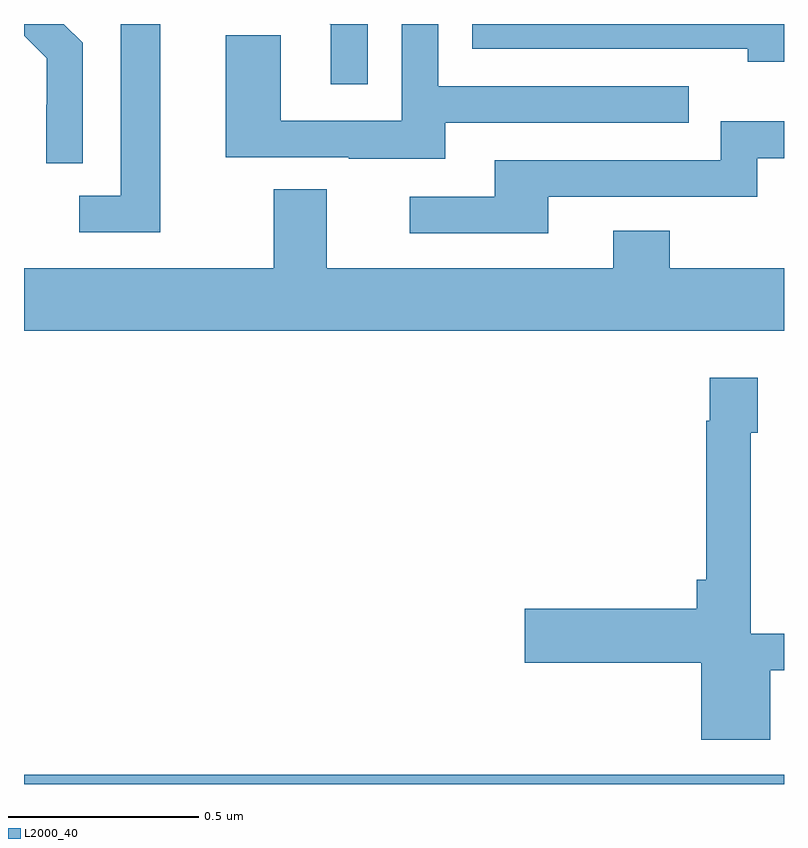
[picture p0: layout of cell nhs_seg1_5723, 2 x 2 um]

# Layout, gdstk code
import gdstk
lib = gdstk.Library(unit=1e-6, precision=1e-09)
def R(c, l, rs):  # rectangles x0, y0, x1, y1
    for r in rs: c.add(gdstk.rectangle(r[:2], r[2:], *l))
def P(c, l, *ps):  # polygons
    for p in ps: c.add(gdstk.Polygon(p, *l))
L2000_40 = (2000, 40)

nhs_seg1_5723 = lib.new_cell('nhs_seg1_5723')
R(nhs_seg1_5723, L2000_40, [(182,557.199,184,557.224)])
P(nhs_seg1_5723, L2000_40, [(182.154,559.15),(182.105,559.199),(182,559.199),(182,559.168),(182.06,559.109),(182.06,558.986),(182.058,558.986),(182.058,558.832),(182.154,558.832)],
  [(184,559.199),(183.18,559.199),(183.18,559.134),(183.905,559.134),(183.905,559.1),(184,559.1)],
  [(182.359,559.199),(182.255,559.199),(182.255,558.747),(182.145,558.747),(182.145,558.651),(182.359,558.651)],
  [(182.904,559.199),(182.805,559.199),(182.807,559.197),(182.807,559.041),(182.904,559.041)],
  [(183.109,558.939),(183.749,558.939),(183.749,559.035),(183.09,559.035),(183.09,559.199),(182.994,559.199),(182.994,558.945),(182.676,558.945),(182.676,559.169),(182.531,559.169),(182.531,558.849),(182.855,558.849),(182.855,558.845),(183.109,558.845)],
  [(183.379,558.744),(183.93,558.744),(183.93,558.846),(184,558.846),(184,558.943),(183.834,558.943),(183.834,558.84),(183.239,558.84),(183.239,558.744),(183.015,558.744),(183.015,558.648),(183.379,558.648)],
  [(184,558.556),(183.699,558.556),(183.699,558.655),(183.551,558.655),(183.551,558.556),(182.797,558.556),(182.797,558.764),(182.657,558.764),(182.657,558.556),(182,558.556),(182,558.392),(184,558.392)],
  [(183.964,557.499),(184,557.499),(184,557.595),(183.912,557.595),(183.912,558.123),(183.931,558.123),(183.931,558.268),(183.804,558.268),(183.804,558.155),(183.796,558.155),(183.796,557.737),(183.77,557.737),(183.77,557.66),(183.318,557.66),(183.318,557.518),(183.782,557.518),(183.782,557.315),(183.964,557.315)])

lib.write_gds('nhs_seg1_5723.gds')
